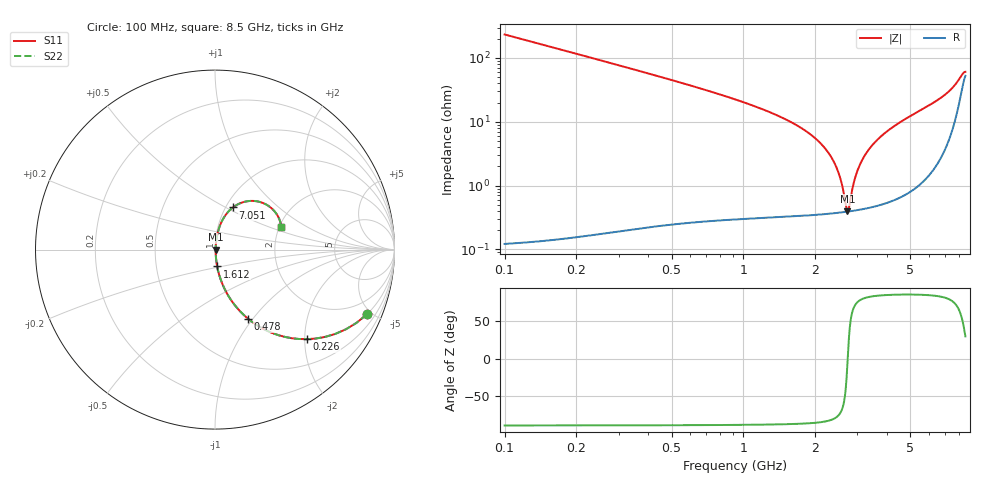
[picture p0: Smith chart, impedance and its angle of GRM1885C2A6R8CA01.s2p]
!Murata Part Number: GRM1885C2A6R8CA01
!These Parameters are Measured in Series Mode Connection
!Data Generated on Mar 30, 2021
!  o--ll--o
!Port1  Port2
!  o------o
!Operation Temp=25[degC], DC Bias Voltage=0[V]
!Freq. Start=100[MHz] Stop=9[GHz] 401[Steps]
# Hz S RI R 50
!Freq.(Hz) S11(Real) S11(Imag) S21(Real) S21(Imag) S12(Real) S12(Imag) S22(Real) S22(Imag)
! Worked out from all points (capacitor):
!   401 points, 100 MHz to 8.5 GHz, reference 50 ohm
!   read as one part in series: C = 6.8 pF near 142 MHz
!   lowest |Z| = 394 mohm at 2.725 GHz (marker M1)
!   series resonance near 2.733 GHz, so ESL is about 500 pH
!   S11 on the Smith chart (normalised r, x): 100 MHz: 1.00, -4.67; 226 MHz: 1.00, -2.06; 478 MHz: 1.00, -0.95; 1.612 GHz: 1.01, -0.19; 7.051 GHz: 1.08, +0.54; 8.5 GHz: 2.05, +0.61
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1e8  0.8451 -0.3615  0.1549 0.3615  0.1549 0.3615  0.8451 -0.3615
2.26e8  0.5137 -0.499  0.4863 0.499  0.4863 0.499  0.5137 -0.499
3.31e8  0.3268 -0.4676  0.6732 0.4676  0.6732 0.4676  0.3268 -0.4676
4.78e8  0.1847 -0.3856  0.8153 0.3856  0.8153 0.3856  0.1847 -0.3856
8.35e8  0.063 -0.2373  0.937 0.2373  0.937 0.2373  0.063 -0.2373
1.507e9  0.0148 -0.1066  0.9852 0.1066  0.9852 0.1066  0.0148 -0.1066
1.612e9  0.0122 -0.0937  0.9878 0.0937  0.9878 0.0937  0.0122 -0.0937
2.053e9  0.00598 -0.0498  0.994 0.0498  0.994 0.0498  0.00598 -0.0498
2.347e9  0.00435 -0.0264  0.9957 0.0264  0.9957 0.0264  0.00435 -0.0264
2.536e9  0.00393 -0.013  0.9961 0.013  0.9961 0.013  0.00393 -0.013
2.725e9  0.00389 -0.000488  0.9961 0.000488  0.9961 0.000488  0.00389 -0.000488
2.767e9  0.00393 0.00217  0.9961 -0.00217  0.9961 -0.00217  0.00393 0.00217
2.914e9  0.00417 0.0112  0.9958 -0.0112  0.9958 -0.0112  0.00417 0.0112
3.103e9  0.00471 0.0223  0.9953 -0.0223  0.9953 -0.0223  0.00471 0.0223
3.376e9  0.0059 0.0376  0.9941 -0.0376  0.9941 -0.0376  0.0059 0.0376
3.775e9  0.00845 0.0586  0.9916 -0.0586  0.9916 -0.0586  0.00845 0.0586
4.3e9  0.0132 0.0848  0.9868 -0.0848  0.9868 -0.0848  0.0132 0.0848
5.707e9  0.0367 0.155  0.9633 -0.155  0.9633 -0.155  0.0367 0.155
7.051e9  0.0995 0.2347  0.9005 -0.2347  0.9005 -0.2347  0.0995 0.2347
7.114e9  0.1051 0.2389  0.8949 -0.2389  0.8949 -0.2389  0.1051 0.2389
7.975e9  0.2494 0.2656  0.7506 -0.2656  0.7506 -0.2656  0.2494 0.2656
8.5e9  0.3697 0.1252  0.6303 -0.1252  0.6303 -0.1252  0.3697 0.1252
